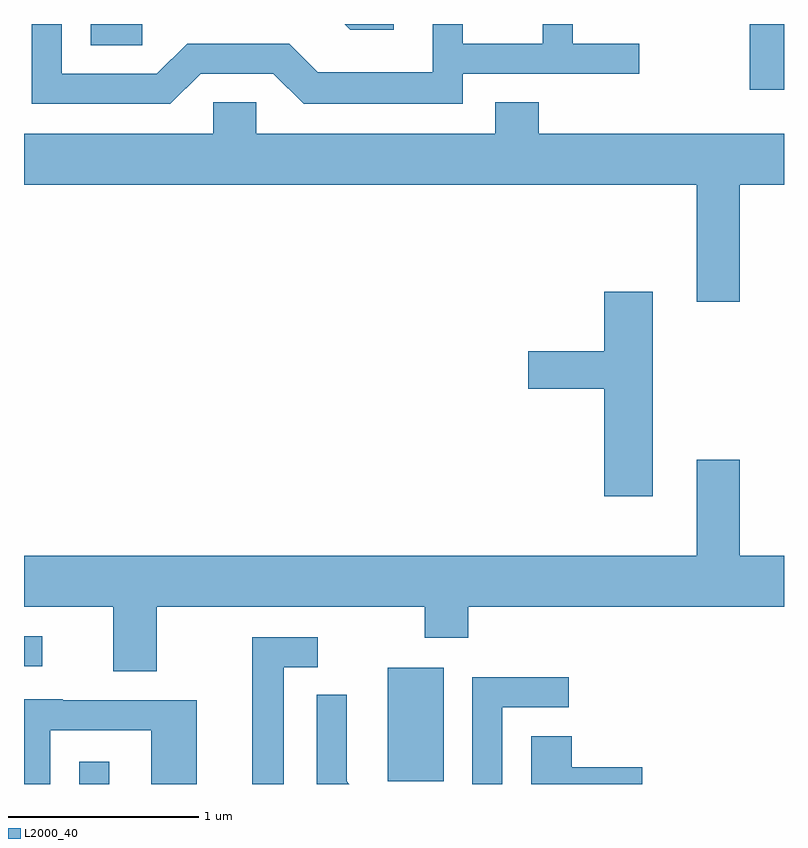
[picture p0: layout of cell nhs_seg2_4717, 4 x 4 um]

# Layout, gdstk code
import gdstk
lib = gdstk.Library(unit=1e-6, precision=1e-09)
def R(c, l, rs):  # rectangles x0, y0, x1, y1
    for r in rs: c.add(gdstk.rectangle(r[:2], r[2:], *l))
def P(c, l, *ps):  # polygons
    for p in ps: c.add(gdstk.Polygon(p, *l))
L2000_40 = (2000, 40)

nhs_seg2_4717 = lib.new_cell('nhs_seg2_4717')
R(nhs_seg2_4717, L2000_40, [(323.901,1071.802,324.059,1071.918), (325.526,1071.816,325.819,1072.414), (323.611,1072.421,323.708,1072.579), (327.431,1075.456,327.611,1075.802), (323.961,1075.691,324.233,1075.802)])
P(nhs_seg2_4717, L2000_40, [(325.558,1075.802),(325.298,1075.802),(325.329,1075.771),(325.558,1075.771)],
  [(324.542,1075.541),(324.924,1075.541),(325.084,1075.381),(325.919,1075.381),(325.919,1075.541),(326.848,1075.541),(326.848,1075.699),(326.499,1075.699),(326.499,1075.802),(326.341,1075.802),(326.341,1075.699),(325.919,1075.699),(325.919,1075.802),(325.761,1075.802),(325.761,1075.549),(325.157,1075.549),(325.007,1075.699),(324.469,1075.699),(324.309,1075.539),(323.809,1075.539),(323.809,1075.802),(323.651,1075.802),(323.651,1075.381),(324.382,1075.381)],
  [(327.379,1074.956),(327.611,1074.956),(327.611,1075.224),(326.319,1075.224),(326.319,1075.389),(326.091,1075.389),(326.091,1075.224),(324.834,1075.224),(324.834,1075.389),(324.606,1075.389),(324.606,1075.224),(323.611,1075.224),(323.611,1074.956),(327.151,1074.956),(327.151,1074.341),(327.379,1074.341)],
  [(326.919,1074.394),(326.666,1074.394),(326.666,1074.079),(326.266,1074.079),(326.266,1073.881),(326.666,1073.881),(326.666,1073.316),(326.919,1073.316)],
  [(324.309,1072.736),(325.721,1072.736),(325.721,1072.571),(325.949,1072.571),(325.949,1072.736),(327.611,1072.736),(327.611,1073.004),(327.379,1073.004),(327.379,1073.509),(327.151,1073.509),(327.151,1073.004),(323.611,1073.004),(323.611,1072.736),(324.081,1072.736),(324.081,1072.396),(324.309,1072.396)],
  [(324.979,1072.416),(325.158,1072.416),(325.158,1072.574),(324.811,1072.574),(324.811,1071.802),(324.979,1071.802)],
  [(326.129,1072.206),(326.478,1072.206),(326.478,1072.364),(325.971,1072.364),(325.971,1071.802),(326.129,1071.802)],
  [(325.309,1071.817),(325.309,1072.273),(325.151,1072.273),(325.151,1071.802),(325.324,1071.802)],
  [(323.749,1072.086),(324.281,1072.086),(324.281,1071.802),(324.519,1071.802),(324.519,1072.244),(323.815,1072.244),(323.815,1072.249),(323.611,1072.249),(323.611,1071.802),(323.749,1071.802)],
  [(326.864,1071.889),(326.494,1071.889),(326.494,1072.054),(326.281,1072.054),(326.281,1071.802),(326.864,1071.802)])

lib.write_gds('nhs_seg2_4717.gds')
